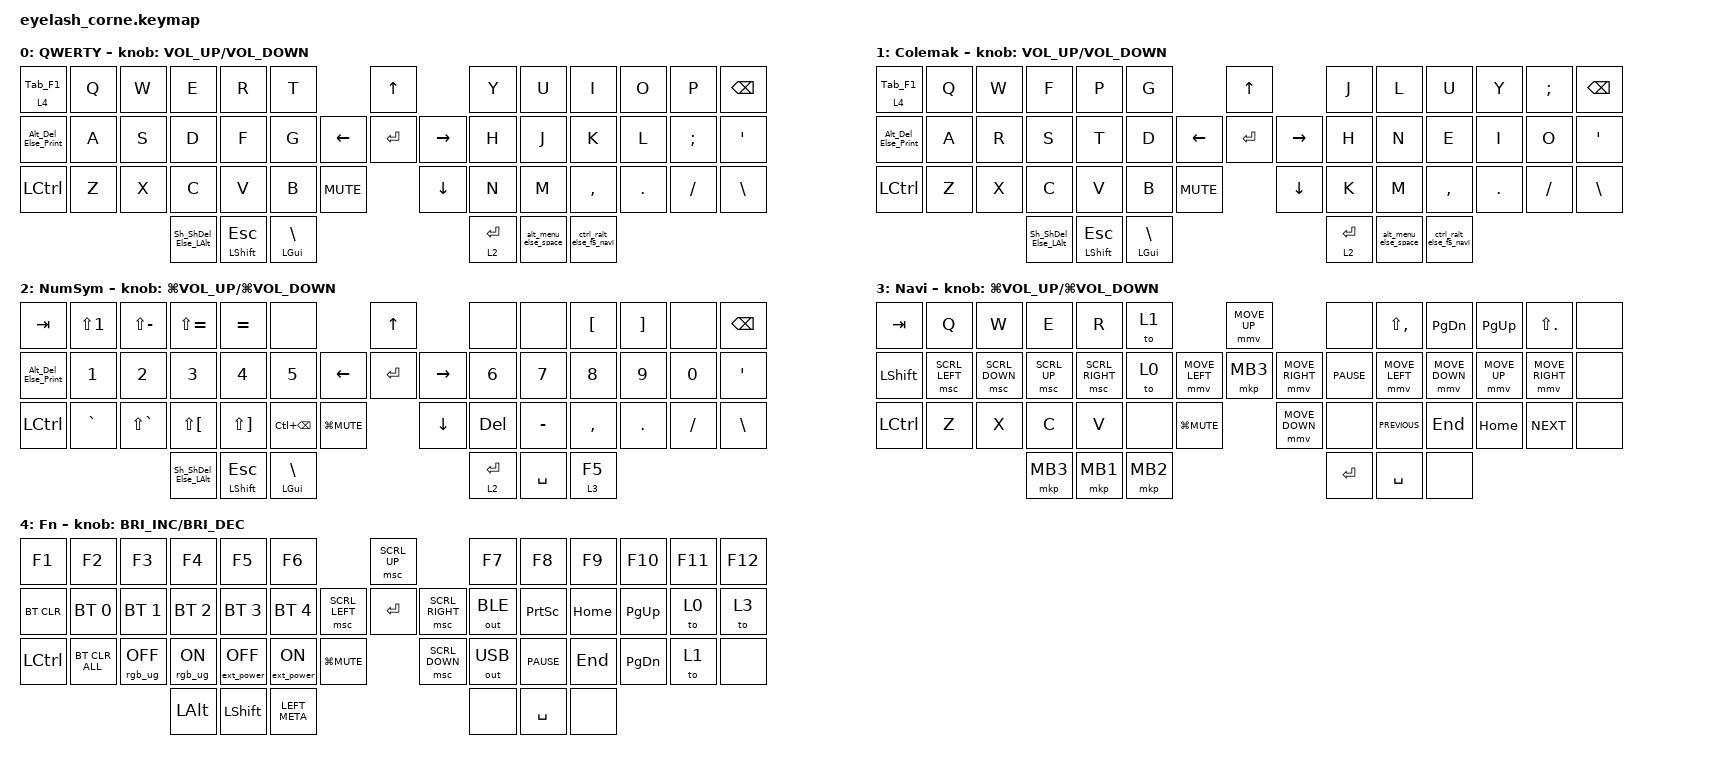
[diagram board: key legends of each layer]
#define ZMK_MOUSE_DEFAULT_MOVE_VAL 1000  // 600
#define ZMK_MOUSE_DEFAULT_SCRL_VAL 100    // 10

#include <input/processors.dtsi>
#include <behaviors.dtsi>
#include <dt-bindings/zmk/bt.h>
#include <dt-bindings/zmk/ext_power.h>
#include <dt-bindings/zmk/keys.h>
#include <dt-bindings/zmk/outputs.h>
#include <dt-bindings/zmk/pointing.h>
#include <dt-bindings/zmk/rgb.h>

&mmv_input_listener { input-processors = <&zip_xy_scaler 2 1>; };

&msc_input_listener { input-processors = <&zip_scroll_scaler 16 1>; };

&msc {
    acceleration-exponent = <1>;      // 0
    time-to-max-speed-ms = <500>;       // 300
    delay-ms = <0>;                   // 0
};

&mmv {
    time-to-max-speed-ms = <400>;
    acceleration-exponent = <1>;
    trigger-period-ms = <16>;
};

/ {
    behaviors {
    };

    rgb_encoder: rgb_encoder {
        compatible = "zmk,behavior-sensor-rotate";
        #sensor-binding-cells = <0>;
        bindings = <&rgb_ug RGB_BRI>, <&rgb_ug RGB_BRD>;
    };

    scroll_encoder: scroll_encoder {
        compatible = "zmk,behavior-sensor-rotate";
        #sensor-binding-cells = <0>;
        bindings = <&msc SCRL_DOWN>, <&msc SCRL_UP>;

        tap-ms = <30>;
    };

    Alt_Del_Else_Print: Alt_Del_Else_Print {
        compatible = "zmk,behavior-mod-morph";
        label = "ALT_DEL_ELSE_PRINT";
        bindings = <&kp PRINTSCREEN>, <&kp DELETE>;

        #binding-cells = <0>;
        mods = <(MOD_LALT)>;
    };

    Sh_ShDel_Else_LAlt: Sh_ShDel_Else_LAlt {
        compatible = "zmk,behavior-mod-morph";
        label = "SH_SHDEL_ELSE_LALT";
        bindings = <&mt LEFT_ALT MINUS>, <&kp LS(DELETE)>;

        #binding-cells = <0>;
        mods = <(MOD_LSFT)>;
    };

    Tab_F1: Tab_F1 {
        compatible = "zmk,behavior-tap-dance";
        label = "TAB_F1";
        #binding-cells = <0>;
        tapping-term-ms = <225>;
        bindings = <&kp TAB>, <&kp F1>;
    };

    mo_Tab_F1: mo_Tab_F1 {
        compatible = "zmk,behavior-hold-tap";
        label = "MO_TAB_F1";
        bindings = <&mo>, <&Tab_F1>;

        #binding-cells = <2>;
        tapping-term-ms = <225>;
        quick-tap-ms = <200>;
        flavor = "hold-preferred";
        hold-while-undecided;
    };

    ctrl_ralt_else_f5_navi: ctrl_ralt_else_f5_navi {
        compatible = "zmk,behavior-mod-morph";
        label = "CTRL_RALT_ELSE_F5_NAVI";
        bindings = <&lt 3 F5>, <&kp RIGHT_ALT>;

        #binding-cells = <0>;
        mods = <(MOD_LCTL)>;
    };

    alt_menu_else_space: alt_menu_else_space {
        compatible = "zmk,behavior-mod-morph";
        label = "ALT_MENU_ELSE_SPACE";
        bindings = <&kp SPACE>, <&kp K_APP>;

        #binding-cells = <0>;
        mods = <(MOD_LALT)>;
    };

    combos { compatible = "zmk,combos"; };

    keymap {
        compatible = "zmk,keymap";

        layer_0 {
            display-name = "QWERTY";
            bindings = <
&mo_Tab_F1 4 0       &kp Q  &kp W  &kp E                &kp R                  &kp T                                       &kp UP                &kp Y        &kp U                 &kp I                    &kp O    &kp P     &kp BSPC
&Alt_Del_Else_Print  &kp A  &kp S  &kp D                &kp F                  &kp G                             &kp LEFT  &kp ENTER  &kp RIGHT  &kp H        &kp J                 &kp K                    &kp L    &kp SEMI  &kp SQT
&kp LCTRL            &kp Z  &kp X  &kp C                &kp V                  &kp B               &kp K_MUTE              &kp DOWN              &kp N        &kp M                 &kp COMMA                &kp DOT  &kp FSLH  &kp BACKSLASH
                                   &Sh_ShDel_Else_LAlt  &mt LEFT_SHIFT ESCAPE  &mt LGUI BACKSLASH                                                &lt 2 ENTER  &alt_menu_else_space  &ctrl_ralt_else_f5_navi
            >;

            sensor-bindings = <&inc_dec_kp C_VOLUME_UP C_VOLUME_DOWN>;
        };

        layer_1 {
            display-name = "Colemak";
            bindings = <
&mo_Tab_F1 4 0       &kp Q  &kp W  &kp F                &kp P                  &kp G                                       &kp UP                &kp J        &kp L                 &kp U                    &kp Y    &kp SEMICOLON  &kp BSPC
&Alt_Del_Else_Print  &kp A  &kp R  &kp S                &kp T                  &kp D                             &kp LEFT  &kp ENTER  &kp RIGHT  &kp H        &kp N                 &kp E                    &kp I    &kp O          &kp SQT
&kp LCTRL            &kp Z  &kp X  &kp C                &kp V                  &kp B               &kp K_MUTE              &kp DOWN              &kp K        &kp M                 &kp COMMA                &kp DOT  &kp FSLH       &kp BACKSLASH
                                   &Sh_ShDel_Else_LAlt  &mt LEFT_SHIFT ESCAPE  &mt LGUI BACKSLASH                                                &lt 2 ENTER  &alt_menu_else_space  &ctrl_ralt_else_f5_navi
            >;

            sensor-bindings = <&inc_dec_kp C_VOLUME_UP C_VOLUME_DOWN>;
        };

        layer_2 {
            display-name = "NumSym";
            bindings = <
&kp TAB              &kp LS(N1)  &kp LS(MINUS)  &kp LS(EQUAL)         &kp EQUAL              &none                                           &kp UP                &none        &none      &kp LEFT_BRACKET  &kp RIGHT_BRACKET  &none     &kp BSPC
&Alt_Del_Else_Print  &kp N1      &kp N2         &kp N3                &kp N4                 &kp N5                                &kp LEFT  &kp ENTER  &kp RIGHT  &kp N6       &kp N7     &kp N8            &kp N9             &kp N0    &kp SQT
&kp LCTRL            &kp GRAVE   &kp LS(GRAVE)  &kp LS(LEFT_BRACKET)  &kp LS(RIGHT_BRACKET)  &kp LC(BACKSPACE)   &kp LG(K_MUTE)              &kp DOWN              &kp DELETE   &kp MINUS  &kp COMMA         &kp DOT            &kp FSLH  &kp BACKSLASH
                                                &Sh_ShDel_Else_LAlt   &mt LEFT_SHIFT ESCAPE  &mt LGUI BACKSLASH                                                    &lt 2 ENTER  &kp SPACE  &lt 3 F5
            >;

            sensor-bindings = <&inc_dec_kp LG(C_VOLUME_UP) LG(C_VOLUME_DOWN)>;
        };

        layer_3 {
            display-name = "Navi";
            bindings = <
&kp TAB           &kp Q           &kp W           &kp E         &kp R            &to 1                                       &mmv MOVE_UP                     &none        &kp LS(COMMA)   &kp PAGE_DOWN   &kp PAGE_UP   &kp LS(PERIOD)   &none
&kp LEFT_SHIFT    &msc SCRL_LEFT  &msc SCRL_DOWN  &msc SCRL_UP  &msc SCRL_RIGHT  &to 0                       &mmv MOVE_LEFT  &mkp MB3        &mmv MOVE_RIGHT  &kp C_PAUSE  &mmv MOVE_LEFT  &mmv MOVE_DOWN  &mmv MOVE_UP  &mmv MOVE_RIGHT  &none
&kp LEFT_CONTROL  &kp Z           &kp X           &kp C         &kp V            &none     &kp LG(K_MUTE)                    &mmv MOVE_DOWN                   &none        &kp C_PREVIOUS  &kp END         &kp HOME      &kp C_NEXT       &none
                                                  &mkp MB3      &mkp MB1         &mkp MB2                                                                     &kp ENTER    &kp SPACE       &none
            >;

            sensor-bindings = <&inc_dec_kp LG(C_VOLUME_UP) LG(C_VOLUME_DOWN)>;
        };

        layer_4 {
            display-name = "Fn";
            bindings = <
&kp F1            &kp F2          &kp F3           &kp F4          &kp F5             &kp F6                                              &msc SCRL_UP                     &kp F7        &kp F8           &kp F9    &kp F10        &kp F11  &kp F12
&bt BT_CLR        &bt BT_SEL 0    &bt BT_SEL 1     &bt BT_SEL 2    &bt BT_SEL 3       &bt BT_SEL 4                        &msc SCRL_LEFT  &kp ENTER       &msc SCRL_RIGHT  &out OUT_BLE  &kp PRINTSCREEN  &kp HOME  &kp PAGE_UP    &to 0    &to 3
&kp LEFT_CONTROL  &bt BT_CLR_ALL  &rgb_ug RGB_OFF  &rgb_ug RGB_ON  &ext_power EP_OFF  &ext_power EP_ON  &kp LG(K_MUTE)                    &msc SCRL_DOWN                   &out OUT_USB  &kp C_PAUSE      &kp END   &kp PAGE_DOWN  &to 1    &none
                                                   &kp LEFT_ALT    &kp LEFT_SHIFT     &kp LEFT_META                                                                        &none         &kp SPACE        &none
            >;

            sensor-bindings = <&inc_dec_kp C_BRIGHTNESS_INC C_BRIGHTNESS_DEC>;
        };
    };
};
